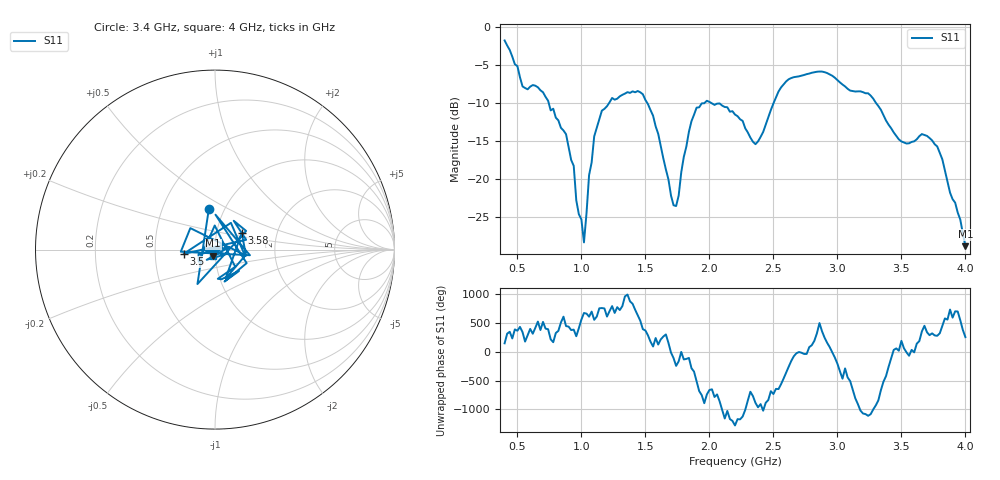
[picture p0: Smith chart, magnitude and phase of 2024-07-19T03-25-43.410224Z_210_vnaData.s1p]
!Created with skrf (http://scikit-rf.org).
# Hz S RI R 50.0
!freq ReS11 ImS11
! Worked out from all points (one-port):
!   181 points, 400 MHz to 4 GHz, reference 50 ohm
!   lowest |S11| = -28.9 dB at 4 GHz (marker M1), VSWR 1.07, Z = 48.8 - j3.36 ohm
!   |S11| at or under -10 dB: 744.6 MHz to 1.216 GHz (471.9 MHz wide, 48.1 % of centre); 2.015 GHz to 2.502 GHz (487 MHz wide, 21.6 % of centre); 3.302 GHz to end of sweep (the widest 3 of 4)
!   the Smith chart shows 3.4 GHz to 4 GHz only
!   S11 on the Smith chart (normalised r, x): 3.4 GHz: 0.85, +0.40; 3.5 GHz: 0.70, -0.03; 3.58 GHz: 1.32, +0.25; 4 GHz: 0.98, -0.07
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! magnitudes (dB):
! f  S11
! 400 MHz  -1.8
! 540 MHz  -7.8
! 700 MHz  -8.6
! 860 MHz  -13.6
! 940 MHz  -18.3
! 960 MHz  -22.8
! 1.02 GHz  -28.4
! 1.06 GHz  -19.5
! 1.1 GHz  -14.4
! 1.16 GHz  -11.0
! 1.3 GHz  -9.1
! 1.48 GHz  -8.8
! 1.6 GHz  -14.1
! 1.72 GHz  -23.5
! 1.76 GHz  -22.2
! 1.84 GHz  -13.8
! 1.9 GHz  -10.6
! 2.2 GHz  -11.5
! 2.36 GHz  -15.4
! 2.66 GHz  -6.6
! 3.1 GHz  -8.4
! 3.24 GHz  -8.7
! 3.4 GHz  -12.9
! 3.5 GHz  -15.1
! 3.56 GHz  -15.3
! 3.58 GHz  -15.1
! 3.78 GHz  -15.7
! 4 GHz  -28.9
